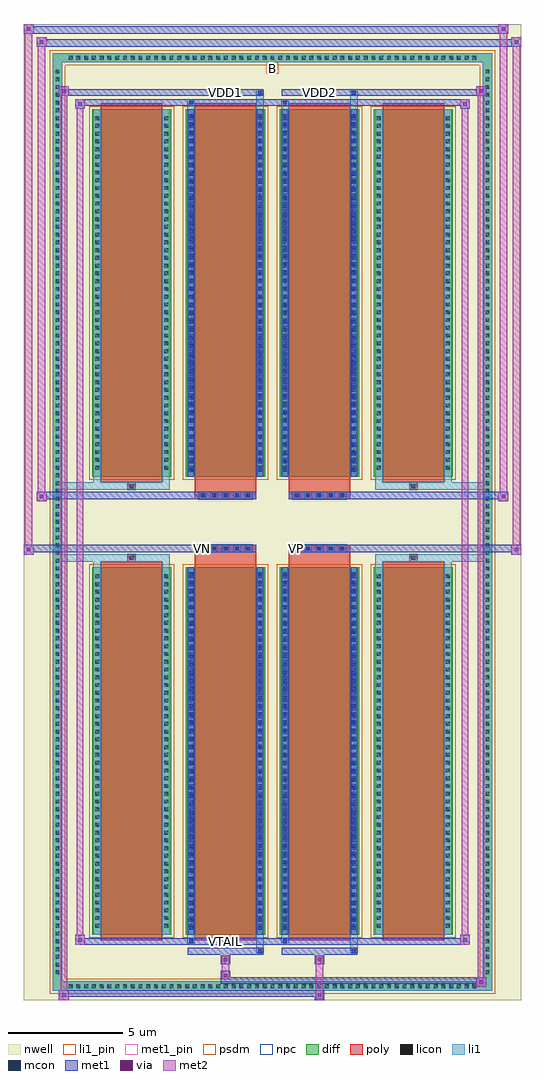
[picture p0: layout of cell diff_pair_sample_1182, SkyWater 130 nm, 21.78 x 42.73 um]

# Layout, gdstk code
import gdstk
lib = gdstk.Library(unit=1e-6, precision=5e-09)
def R(c, l, rs):  # rectangles x0, y0, x1, y1
    for r in rs: c.add(gdstk.rectangle(r[:2], r[2:], *l))
def A(c, l, x, y, w, h, nx, ny, dx, dy):  # array of equal rectangles
    R(c, l, [(x+i*dx, y+j*dy, x+i*dx+w, y+j*dy+h) for i in range(nx) for j in range(ny)])
def P(c, l, *ps):  # polygons
    for p in ps: c.add(gdstk.Polygon(p, *l))
nwell = (64, 20)
diff = (65, 20)
poly = (66, 20)
licon = (66, 44)
li1_pin = (67, 16)
li1 = (67, 20)
mcon = (67, 44)
met1_pin = (68, 16)
met1 = (68, 20)
via = (68, 44)
met2 = (69, 20)
psdm = (94, 20)
npc = (95, 20)

diff_pair_sample_1182 = lib.new_cell('diff_pair_sample_1182')
R(diff_pair_sample_1182, nwell, [(-10.89,-20.93,10.89,21.8), (-8.21,-19.12,-0.01,-0.8), (0.01,-19.12,8.21,-0.8), (-8.21,0.8,-0.01,19.12), (0.01,0.8,8.21,19.12)])
A(diff_pair_sample_1182, diff, -9.045, -20.53, 0.41, 0.41, 53, 2, 0.34, 40.65)
A(diff_pair_sample_1182, diff, -9.62, -19.925, 0.41, 0.41, 1, 117, 0, 0.34)
A(diff_pair_sample_1182, diff, 9.21, -19.925, 0.41, 0.41, 1, 117, 0, 0.34)
A(diff_pair_sample_1182, diff, -7.9, -18.075, 3.47, 16.09, 4, 2, 4.11, 20.06)
R(diff_pair_sample_1182, diff, [(-9.045,-20.53,9.045,-20.12), (-9.62,-19.925,-9.21,19.925), (9.21,-19.925,9.62,19.925), (-9.045,20.12,9.045,20.53)])
P(diff_pair_sample_1182, diff, [(9.62,20.53),(-9.62,20.53),(-9.62,-20.12),(-9.21,-20.12),(-9.21,20.12),(9.21,20.12),(9.21,-20.12),(-9.21,-20.12),(-9.62,-20.12),(-9.62,-20.53),(9.62,-20.53)])
A(diff_pair_sample_1182, poly, -7.51, -18.325, 2.69, 16.59, 4, 2, 4.11, 20.06)
A(diff_pair_sample_1182, poly, -3.22, -1.33, 0.33, 0.33, 5, 2, 0.5, 2.33)
A(diff_pair_sample_1182, poly, 0.89, -1.33, 0.33, 0.33, 5, 2, 0.5, 2.33)
R(diff_pair_sample_1182, poly, [(-6.33,-1.735,-6,-1.405), (-6.33,-1.735,-6,-1.405), (-3.4,-1.735,-0.71,-1.33), (0.71,-1.735,3.4,-1.33), (6,-1.735,6.33,-1.405), (6,-1.735,6.33,-1.405), (-3.4,-1.33,-0.71,-1), (0.71,-1.33,3.4,-1), (-3.4,1,-0.71,1.33), (0.71,1,3.4,1.33), (-3.4,1.33,-0.71,1.735), (0.71,1.33,3.4,1.735), (-6.33,1.405,-6,1.735), (-6.33,1.405,-6,1.735), (6,1.405,6.33,1.735), (6,1.405,6.33,1.735)])
A(diff_pair_sample_1182, licon, -8.925, -20.41, 0.17, 0.17, 53, 2, 0.34, 40.65)
A(diff_pair_sample_1182, licon, -9.5, -19.805, 0.17, 0.17, 1, 117, 0, 0.34)
A(diff_pair_sample_1182, licon, 9.33, -19.805, 0.17, 0.17, 1, 117, 0, 0.34)
A(diff_pair_sample_1182, licon, -7.76, -17.765, 0.17, 0.17, 1, 46, 0, 0.34)
A(diff_pair_sample_1182, licon, -4.74, -17.765, 0.17, 0.17, 1, 46, 0, 0.34)
A(diff_pair_sample_1182, licon, -3.65, -17.765, 0.17, 0.17, 1, 46, 0, 0.34)
A(diff_pair_sample_1182, licon, -0.63, -17.765, 0.17, 0.17, 1, 46, 0, 0.34)
A(diff_pair_sample_1182, licon, 0.46, -17.765, 0.17, 0.17, 1, 46, 0, 0.34)
A(diff_pair_sample_1182, licon, 3.48, -17.765, 0.17, 0.17, 1, 46, 0, 0.34)
A(diff_pair_sample_1182, licon, 4.57, -17.765, 0.17, 0.17, 1, 46, 0, 0.34)
A(diff_pair_sample_1182, licon, 7.59, -17.765, 0.17, 0.17, 1, 46, 0, 0.34)
A(diff_pair_sample_1182, licon, -3.14, -1.25, 0.17, 0.17, 5, 2, 0.5, 2.33)
A(diff_pair_sample_1182, licon, 0.97, -1.25, 0.17, 0.17, 5, 2, 0.5, 2.33)
A(diff_pair_sample_1182, licon, -7.76, 2.295, 0.17, 0.17, 1, 46, 0, 0.34)
A(diff_pair_sample_1182, licon, -4.74, 2.295, 0.17, 0.17, 1, 46, 0, 0.34)
A(diff_pair_sample_1182, licon, -3.65, 2.295, 0.17, 0.17, 1, 46, 0, 0.34)
A(diff_pair_sample_1182, licon, -0.63, 2.295, 0.17, 0.17, 1, 46, 0, 0.34)
A(diff_pair_sample_1182, licon, 0.46, 2.295, 0.17, 0.17, 1, 46, 0, 0.34)
A(diff_pair_sample_1182, licon, 3.48, 2.295, 0.17, 0.17, 1, 46, 0, 0.34)
A(diff_pair_sample_1182, licon, 4.57, 2.295, 0.17, 0.17, 1, 46, 0, 0.34)
A(diff_pair_sample_1182, licon, 7.59, 2.295, 0.17, 0.17, 1, 46, 0, 0.34)
R(diff_pair_sample_1182, licon, [(-6.25,-1.655,-6.08,-1.485), (6.08,-1.655,6.25,-1.485), (-6.25,1.485,-6.08,1.655), (6.08,1.485,6.25,1.655)])
R(diff_pair_sample_1182, li1_pin, [(-0.25,19.62,0.25,20.12)])
A(diff_pair_sample_1182, li1, -9.005, -20.49, 0.33, 0.33, 53, 2, 0.34, 40.65)
A(diff_pair_sample_1182, li1, -9.58, -19.885, 0.33, 0.33, 1, 117, 0, 0.34)
A(diff_pair_sample_1182, li1, 9.25, -19.885, 0.33, 0.33, 1, 117, 0, 0.34)
A(diff_pair_sample_1182, li1, -3.65, -17.855, 0.17, 0.17, 1, 44, 0, 0.36)
A(diff_pair_sample_1182, li1, -0.63, -17.855, 0.17, 0.17, 1, 44, 0, 0.36)
A(diff_pair_sample_1182, li1, 0.46, -17.855, 0.17, 0.17, 1, 44, 0, 0.36)
A(diff_pair_sample_1182, li1, 3.48, -17.855, 0.17, 0.17, 1, 44, 0, 0.36)
A(diff_pair_sample_1182, li1, -7.84, -17.845, 0.33, 0.33, 1, 46, 0, 0.34)
A(diff_pair_sample_1182, li1, -4.82, -17.845, 0.33, 0.33, 1, 46, 0, 0.34)
A(diff_pair_sample_1182, li1, -3.73, -17.845, 0.33, 0.33, 1, 46, 0, 0.34)
A(diff_pair_sample_1182, li1, -0.71, -17.845, 0.33, 0.33, 1, 46, 0, 0.34)
A(diff_pair_sample_1182, li1, 0.38, -17.845, 0.33, 0.33, 1, 46, 0, 0.34)
A(diff_pair_sample_1182, li1, 3.4, -17.845, 0.33, 0.33, 1, 46, 0, 0.34)
A(diff_pair_sample_1182, li1, 4.49, -17.845, 0.33, 0.33, 1, 46, 0, 0.34)
A(diff_pair_sample_1182, li1, 7.51, -17.845, 0.33, 0.33, 1, 46, 0, 0.34)
A(diff_pair_sample_1182, li1, -3.22, -1.33, 0.33, 0.33, 5, 2, 0.5, 2.33)
A(diff_pair_sample_1182, li1, 0.89, -1.33, 0.33, 0.33, 5, 2, 0.5, 2.33)
A(diff_pair_sample_1182, li1, -3.65, 2.205, 0.17, 0.17, 1, 44, 0, 0.36)
A(diff_pair_sample_1182, li1, -0.63, 2.205, 0.17, 0.17, 1, 44, 0, 0.36)
A(diff_pair_sample_1182, li1, 0.46, 2.205, 0.17, 0.17, 1, 44, 0, 0.36)
A(diff_pair_sample_1182, li1, 3.48, 2.205, 0.17, 0.17, 1, 44, 0, 0.36)
A(diff_pair_sample_1182, li1, -7.84, 2.215, 0.33, 0.33, 1, 46, 0, 0.34)
A(diff_pair_sample_1182, li1, -4.82, 2.215, 0.33, 0.33, 1, 46, 0, 0.34)
A(diff_pair_sample_1182, li1, -3.73, 2.215, 0.33, 0.33, 1, 46, 0, 0.34)
A(diff_pair_sample_1182, li1, -0.71, 2.215, 0.33, 0.33, 1, 46, 0, 0.34)
A(diff_pair_sample_1182, li1, 0.38, 2.215, 0.33, 0.33, 1, 46, 0, 0.34)
A(diff_pair_sample_1182, li1, 3.4, 2.215, 0.33, 0.33, 1, 46, 0, 0.34)
A(diff_pair_sample_1182, li1, 4.49, 2.215, 0.33, 0.33, 1, 46, 0, 0.34)
A(diff_pair_sample_1182, li1, 7.51, 2.215, 0.33, 0.33, 1, 46, 0, 0.34)
R(diff_pair_sample_1182, li1, [(-9.62,-20.53,-9.21,-20.12), (-9.62,-20.53,-9.21,-20.12), (-9.21,-20.53,9.21,-20.12), (9.21,-20.53,9.62,-20.12), (9.21,-20.53,9.62,-20.12), (-9.62,-20.12,-9.21,20.12), (9.21,-20.12,9.62,20.12), (-0.71,-18.88,-0.38,-18.075), (-0.63,-18.88,-0.46,-18.71), (3.4,-18.88,3.73,-18.075), (3.48,-18.88,3.65,-18.71), (-3.73,-18.45,-3.4,-18.075), (-3.65,-18.45,-3.48,-18.28), (0.38,-18.45,0.71,-18.075), (0.46,-18.45,0.63,-18.28), (-7.84,-18.075,-7.51,-1.985), (-4.82,-18.075,-4.49,-1.985), (-3.73,-18.075,-3.4,-1.985), (-0.71,-18.075,-0.38,-1.985), (0.38,-18.075,0.71,-1.985), (3.4,-18.075,3.73,-1.985), (4.49,-18.075,4.82,-1.985), (7.51,-18.075,7.84,-1.985), (-3.65,-17.855,-3.48,-2.205), (-0.63,-17.855,-0.46,-2.205), (0.46,-17.855,0.63,-2.205), (3.48,-17.855,3.65,-2.205), (-7.84,-1.985,-7.51,-1.405), (-4.82,-1.985,-4.49,-1.405), (4.49,-1.985,4.82,-1.405), (7.51,-1.985,7.84,-1.405), (-9.62,-1.735,-6.33,-1.405), (-7.84,-1.735,-6.33,-1.405), (-6.33,-1.735,-6,-1.405), (-6,-1.735,-4.49,-1.405), (4.49,-1.735,6,-1.405), (6,-1.735,6.33,-1.405), (6,-1.735,9.62,-1.405), (6.33,-1.735,7.84,-1.405), (-9.62,1.405,-6.33,1.735), (-7.84,1.405,-6.33,1.735), (-7.84,1.405,-7.51,1.985), (-6.33,1.405,-6,1.735), (-6,1.405,-4.49,1.735), (-4.82,1.405,-4.49,1.985), (4.49,1.405,6,1.735), (4.49,1.405,4.82,1.985), (6,1.405,6.33,1.735), (6,1.405,9.62,1.735), (6.33,1.405,7.84,1.735), (7.51,1.405,7.84,1.985), (-7.84,1.985,-7.51,18.075), (-4.82,1.985,-4.49,18.075), (-3.73,1.985,-3.4,18.075), (-0.71,1.985,-0.38,18.075), (0.38,1.985,0.71,18.075), (3.4,1.985,3.73,18.075), (4.49,1.985,4.82,18.075), (7.51,1.985,7.84,18.075), (-3.65,2.205,-3.48,17.855), (-0.63,2.205,-0.46,17.855), (0.46,2.205,0.63,17.855), (3.48,2.205,3.65,17.855), (-3.73,18.075,-3.4,18.45), (-0.71,18.075,-0.38,18.88), (0.38,18.075,0.71,18.45), (3.4,18.075,3.73,18.88), (-3.65,18.28,-3.48,18.45), (0.46,18.28,0.63,18.45), (-0.63,18.71,-0.46,18.88), (3.48,18.71,3.65,18.88), (-9.62,20.12,-9.21,20.53), (-9.62,20.12,-9.21,20.53), (-9.21,20.12,9.21,20.53), (9.21,20.12,9.62,20.53), (9.21,20.12,9.62,20.53)])
A(diff_pair_sample_1182, mcon, -3.65, -17.855, 0.17, 0.17, 1, 44, 0, 0.36)
A(diff_pair_sample_1182, mcon, -0.63, -17.855, 0.17, 0.17, 1, 44, 0, 0.36)
A(diff_pair_sample_1182, mcon, 0.46, -17.855, 0.17, 0.17, 1, 44, 0, 0.36)
A(diff_pair_sample_1182, mcon, 3.48, -17.855, 0.17, 0.17, 1, 44, 0, 0.36)
A(diff_pair_sample_1182, mcon, -3.14, -1.25, 0.17, 0.17, 5, 2, 0.5, 2.33)
A(diff_pair_sample_1182, mcon, 0.97, -1.25, 0.17, 0.17, 5, 2, 0.5, 2.33)
A(diff_pair_sample_1182, mcon, -3.65, 2.205, 0.17, 0.17, 1, 44, 0, 0.36)
A(diff_pair_sample_1182, mcon, -0.63, 2.205, 0.17, 0.17, 1, 44, 0, 0.36)
A(diff_pair_sample_1182, mcon, 0.46, 2.205, 0.17, 0.17, 1, 44, 0, 0.36)
A(diff_pair_sample_1182, mcon, 3.48, 2.205, 0.17, 0.17, 1, 44, 0, 0.36)
R(diff_pair_sample_1182, mcon, [(-0.63,-18.88,-0.46,-18.71), (3.48,-18.88,3.65,-18.71), (-3.65,-18.45,-3.48,-18.28), (0.46,-18.45,0.63,-18.28), (-3.65,18.28,-3.48,18.45), (0.46,18.28,0.63,18.45), (-0.63,18.71,-0.46,18.88), (3.48,18.71,3.65,18.88)])
R(diff_pair_sample_1182, met1_pin, [(-2.19,-18.49,-1.92,-18.22), (-3.19,-1.29,-2.92,-1.02), (0.92,-1.29,1.19,-1.02), (-2.19,18.67,-1.92,18.94), (1.92,18.67,2.19,18.94)])
A(diff_pair_sample_1182, met1, -3.71, -17.915, 0.29, 0.29, 1, 44, 0, 0.36)
A(diff_pair_sample_1182, met1, -0.69, -17.915, 0.29, 0.29, 1, 44, 0, 0.36)
A(diff_pair_sample_1182, met1, 0.4, -17.915, 0.29, 0.29, 1, 44, 0, 0.36)
A(diff_pair_sample_1182, met1, 3.42, -17.915, 0.29, 0.29, 1, 44, 0, 0.36)
A(diff_pair_sample_1182, met1, -3.2, -1.31, 0.29, 0.29, 5, 2, 0.5, 2.33)
A(diff_pair_sample_1182, met1, 0.91, -1.31, 0.29, 0.29, 5, 2, 0.5, 2.33)
A(diff_pair_sample_1182, met1, -3.71, 2.145, 0.29, 0.29, 1, 44, 0, 0.36)
A(diff_pair_sample_1182, met1, -0.69, 2.145, 0.29, 0.29, 1, 44, 0, 0.36)
A(diff_pair_sample_1182, met1, 0.4, 2.145, 0.29, 0.29, 1, 44, 0, 0.36)
A(diff_pair_sample_1182, met1, 3.42, 2.145, 0.29, 0.29, 1, 44, 0, 0.36)
R(diff_pair_sample_1182, met1, [(-9.35,-20.93,-8.92,-20.5), (1.84,-20.93,2.27,-20.5), (-9.35,-20.79,2.27,-20.5), (8.92,-20.36,9.35,-19.93), (-2.27,-20.22,9.35,-19.93), (-2.27,-20.08,-1.84,-19.65), (-2.27,-19.37,-1.84,-18.94), (1.84,-19.37,2.27,-18.94), (-3.71,-18.94,-0.4,-18.65), (-0.69,-18.94,-0.4,-18.65), (0.4,-18.94,3.71,-18.65), (3.42,-18.94,3.71,-18.65), (-8.64,-18.51,-8.21,-18.08), (-8.64,-18.51,-3.71,-18.22), (-3.71,-18.51,-3.42,-18.22), (-3.71,-18.51,-0.4,-18.22), (-0.4,-18.51,0.4,-18.22), (0.4,-18.51,0.69,-18.22), (0.4,-18.51,3.71,-18.22), (3.71,-18.51,8.64,-18.22), (8.21,-18.51,8.64,-18.08), (-3.71,-18.075,-3.42,-1.985), (-0.69,-18.075,-0.4,-1.985), (0.4,-18.075,0.69,-1.985), (3.42,-18.075,3.71,-1.985), (-10.89,-1.43,-10.46,-1), (10.46,-1.43,10.89,-1), (-10.89,-1.33,-0.71,-1), (-3.4,-1.33,-0.71,-1), (0.71,-1.33,3.4,-1), (0.71,-1.33,10.89,-1), (-10.32,0.9,-9.89,1.33), (9.89,0.9,10.32,1.33), (-10.32,1,-3.4,1.33), (-3.4,1,-0.71,1.33), (0.71,1,3.4,1.33), (3.4,1,10.32,1.33), (-3.71,1.985,-3.42,18.075), (-0.69,1.985,-0.4,18.075), (0.4,1.985,0.69,18.075), (3.42,1.985,3.71,18.075), (-8.64,18.08,-8.21,18.51), (8.21,18.08,8.64,18.51), (-8.64,18.22,-3.71,18.51), (-3.71,18.22,-3.42,18.51), (-3.71,18.22,-0.4,18.51), (-0.4,18.22,0.4,18.51), (0.4,18.22,0.69,18.51), (0.4,18.22,3.71,18.51), (3.71,18.22,8.64,18.51), (-9.35,18.65,-8.92,19.08), (-9.35,18.65,-3.71,18.94), (-3.71,18.65,-0.4,18.94), (-0.69,18.65,-0.4,18.94), (0.4,18.65,3.71,18.94), (3.42,18.65,3.71,18.94), (3.71,18.65,9.35,18.94), (8.92,18.65,9.35,19.08), (-10.32,20.8,-9.89,21.23), (-10.32,20.8,-8.21,21.13), (-8.21,20.8,8.21,21.13), (8.21,20.8,10.89,21.13), (10.46,20.8,10.89,21.23), (-10.89,21.37,-10.46,21.8), (-10.89,21.37,-8.21,21.7), (-8.21,21.37,8.21,21.7), (8.21,21.37,10.32,21.7), (9.89,21.37,10.32,21.8)])
R(diff_pair_sample_1182, via, [(-9.21,-20.79,-9.06,-20.64), (1.98,-20.79,2.13,-20.64), (9.06,-20.22,9.21,-20.07), (-2.13,-19.94,-1.98,-19.79), (-2.13,-19.23,-1.98,-19.08), (1.98,-19.23,2.13,-19.08), (-8.5,-18.37,-8.35,-18.22), (8.35,-18.37,8.5,-18.22), (-10.75,-1.29,-10.6,-1.14), (10.6,-1.29,10.75,-1.14), (-10.18,1.04,-10.03,1.19), (10.03,1.04,10.18,1.19), (-8.5,18.22,-8.35,18.37), (8.35,18.22,8.5,18.37), (-9.21,18.79,-9.06,18.94), (9.06,18.79,9.21,18.94), (-10.18,20.94,-10.03,21.09), (10.6,20.94,10.75,21.09), (-10.75,21.51,-10.6,21.66), (10.03,21.51,10.18,21.66)])
R(diff_pair_sample_1182, met2, [(-9.35,-20.93,-8.92,-20.5), (-9.28,-20.93,-8.99,19.08), (-8.99,-20.93,-8.92,-20.5), (-9.3,-20.88,-8.97,-20.55), (1.89,-20.88,2.22,-20.55), (1.89,-20.55,2.22,-19.32), (8.92,-20.36,9.35,-19.93), (8.99,-20.36,9.28,19.08), (9.28,-20.36,9.35,-19.93), (8.97,-20.31,9.3,-19.98), (-2.22,-20.03,-1.89,-19.7), (-2.22,-19.7,-1.89,-19.32), (-2.22,-19.32,-1.89,-18.99), (1.89,-19.32,2.22,-18.99), (-8.64,-18.51,-8.21,-18.08), (-8.57,-18.51,-8.28,18.51), (-8.28,-18.51,-8.21,-18.08), (8.21,-18.51,8.64,-18.08), (8.28,-18.51,8.57,18.51), (8.57,-18.51,8.64,-18.08), (-8.59,-18.46,-8.26,-18.13), (8.26,-18.46,8.59,-18.13), (-10.89,-1.43,-10.46,-1), (-10.84,-1.43,-10.51,21.8), (-10.51,-1.43,-10.46,-1), (10.46,-1.43,10.89,-1), (10.51,-1.43,10.84,21.23), (10.84,-1.43,10.89,-1), (-10.84,-1.38,-10.51,-1.05), (10.51,-1.38,10.84,-1.05), (-10.32,0.9,-9.89,1.33), (-10.27,0.9,-9.94,21.23), (-9.94,0.9,-9.89,1.33), (9.89,0.9,10.32,1.33), (9.94,0.9,10.27,21.8), (10.27,0.9,10.32,1.33), (-10.27,0.95,-9.94,1.28), (9.94,0.95,10.27,1.28), (-8.64,18.08,-8.21,18.51), (-8.28,18.08,-8.21,18.51), (8.21,18.08,8.64,18.51), (8.57,18.08,8.64,18.51), (-8.59,18.13,-8.26,18.46), (8.26,18.13,8.59,18.46), (-9.35,18.65,-8.92,19.08), (-8.99,18.65,-8.92,19.08), (8.92,18.65,9.35,19.08), (9.28,18.65,9.35,19.08), (-9.3,18.7,-8.97,19.03), (8.97,18.7,9.3,19.03), (-10.32,20.8,-9.89,21.23), (-9.94,20.8,-9.89,21.23), (10.46,20.8,10.89,21.23), (10.84,20.8,10.89,21.23), (-10.27,20.85,-9.94,21.18), (10.51,20.85,10.84,21.18), (-10.89,21.37,-10.46,21.8), (-10.51,21.37,-10.46,21.8), (9.89,21.37,10.32,21.8), (10.27,21.37,10.32,21.8), (-10.84,21.42,-10.51,21.75), (9.94,21.42,10.27,21.75)])
A(diff_pair_sample_1182, psdm, -8.03, -18.205, 3.73, 16.35, 4, 2, 4.11, 20.06)
P(diff_pair_sample_1182, psdm, [(9.75,20.66),(-9.75,20.66),(-9.75,-19.99),(-9.08,-19.99),(-9.08,19.99),(9.08,19.99),(9.08,-19.99),(-9.08,-19.99),(-9.75,-19.99),(-9.75,-20.66),(9.75,-20.66)])
A(diff_pair_sample_1182, npc, -3.24, -1.35, 0.37, 0.37, 5, 2, 0.5, 2.33)
A(diff_pair_sample_1182, npc, 0.87, -1.35, 0.37, 0.37, 5, 2, 0.5, 2.33)
R(diff_pair_sample_1182, npc, [(-6.35,-1.755,-5.98,-1.385), (5.98,-1.755,6.35,-1.385), (-3.24,-1.35,-2.37,-0.98), (-3.24,-1.35,-2.37,-0.98), (-2.74,-1.35,-1.87,-0.98), (-2.74,-1.35,-1.87,-0.98), (-2.24,-1.35,-1.37,-0.98), (-2.24,-1.35,-1.37,-0.98), (-1.74,-1.35,-0.87,-0.98), (-1.74,-1.35,-0.87,-0.98), (0.87,-1.35,1.74,-0.98), (0.87,-1.35,1.74,-0.98), (1.37,-1.35,2.24,-0.98), (1.37,-1.35,2.24,-0.98), (1.87,-1.35,2.74,-0.98), (1.87,-1.35,2.74,-0.98), (2.37,-1.35,3.24,-0.98), (2.37,-1.35,3.24,-0.98), (-3.24,0.98,-2.37,1.35), (-3.24,0.98,-2.37,1.35), (-2.74,0.98,-1.87,1.35), (-2.74,0.98,-1.87,1.35), (-2.24,0.98,-1.37,1.35), (-2.24,0.98,-1.37,1.35), (-1.74,0.98,-0.87,1.35), (-1.74,0.98,-0.87,1.35), (0.87,0.98,1.74,1.35), (0.87,0.98,1.74,1.35), (1.37,0.98,2.24,1.35), (1.37,0.98,2.24,1.35), (1.87,0.98,2.74,1.35), (1.87,0.98,2.74,1.35), (2.37,0.98,3.24,1.35), (2.37,0.98,3.24,1.35), (-6.35,1.385,-5.98,1.755), (5.98,1.385,6.35,1.755)])
diff_pair_sample_1182.add(gdstk.Label('VTAIL', (-2.055,-18.355), layer=68, texttype=5))
diff_pair_sample_1182.add(gdstk.Label('VN', (-3.055,-1.155), layer=68, texttype=5))
diff_pair_sample_1182.add(gdstk.Label('VP', (1.055,-1.155), layer=68, texttype=5))
diff_pair_sample_1182.add(gdstk.Label('B', (0,19.87), layer=67, texttype=5))
diff_pair_sample_1182.add(gdstk.Label('VDD2', (2.055,18.805), layer=68, texttype=5))
diff_pair_sample_1182.add(gdstk.Label('VDD1', (-2.055,18.805), layer=68, texttype=5))

lib.write_gds('diff_pair_sample_1182.gds')
